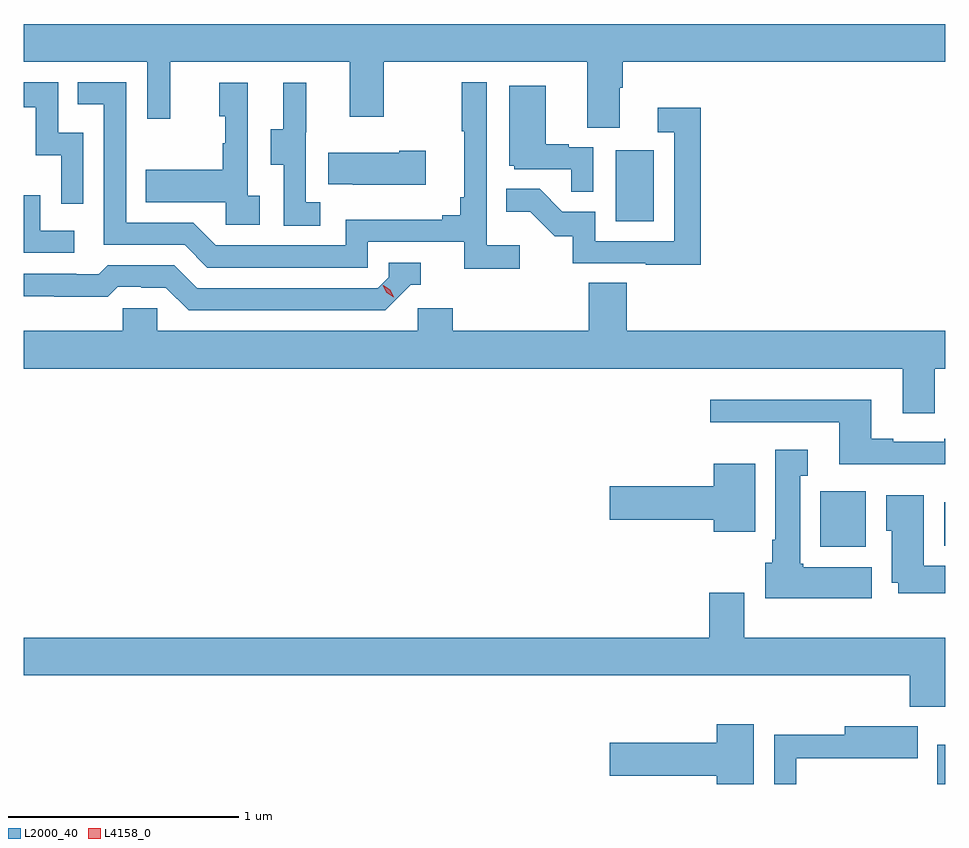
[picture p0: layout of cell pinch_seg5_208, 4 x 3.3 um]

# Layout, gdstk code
import gdstk
lib = gdstk.Library(unit=1e-6, precision=1e-09)
def R(c, l, rs):  # rectangles x0, y0, x1, y1
    for r in rs: c.add(gdstk.rectangle(r[:2], r[2:], *l))
def P(c, l, *ps):  # polygons
    for p in ps: c.add(gdstk.Polygon(p, *l))
L2000_40 = (2000, 40)
L4158_0 = (4158, 0)

pinch_seg5_208 = lib.new_cell('pinch_seg5_208')
R(pinch_seg5_208, L2000_40, [(991.044,898.913,991.078,899.083), (990.536,899.942,990.733,900.184), (991.073,899.948,991.078,900.136), (989.648,901.356,989.812,901.663)])
P(pinch_seg5_208, L2000_40, [(989.665,901.936),(989.678,901.936),(989.678,902.048),(991.078,902.048),(991.078,902.212),(987.078,902.212),(987.078,902.048),(987.615,902.048),(987.615,901.8),(987.713,901.8),(987.713,902.048),(988.493,902.048),(988.493,901.809),(988.641,901.809),(988.641,902.048),(989.525,902.048),(989.525,901.762),(989.665,901.762)],
  [(989.23,901.252),(989.088,901.252),(989.088,901.96),(988.98,901.96),(988.98,901.747),(988.991,901.747),(988.991,901.459),(988.972,901.459),(988.972,901.382),(988.895,901.382),(988.895,901.363),(988.476,901.363),(988.476,901.251),(987.912,901.251),(987.813,901.35),(987.522,901.35),(987.522,901.959),(987.313,901.959),(987.313,901.863),(987.426,901.863),(987.426,901.254),(987.776,901.254),(987.875,901.155),(988.572,901.155),(988.572,901.266),(988.991,901.266),(988.991,901.15),(989.23,901.15)],
  [(987.336,901.74),(987.228,901.74),(987.228,901.959),(987.078,901.959),(987.078,901.851),(987.131,901.851),(987.131,901.643),(987.24,901.643),(987.24,901.431),(987.336,901.431)],
  [(988.366,901.439),(988.302,901.439),(988.302,901.743),(988.304,901.743),(988.304,901.957),(988.205,901.957),(988.205,901.755),(988.151,901.755),(988.151,901.6),(988.206,901.6),(988.206,901.336),(988.366,901.336)],
  [(988.102,901.466),(988.05,901.466),(988.05,901.957),(987.926,901.957),(987.926,901.812),(987.952,901.812),(987.952,901.694),(987.942,901.694),(987.942,901.579),(987.607,901.579),(987.607,901.439),(987.954,901.439),(987.954,901.341),(988.102,901.341)],
  [(989.55,901.677),(989.444,901.677),(989.444,901.69),(989.344,901.69),(989.344,901.945),(989.186,901.945),(989.186,901.596),(989.208,901.596),(989.208,901.581),(989.455,901.581),(989.455,901.483),(989.55,901.483)],
  [(990.017,901.849),(989.829,901.849),(989.829,901.743),(989.901,901.743),(989.901,901.269),(989.559,901.269),(989.559,901.398),(989.415,901.398),(989.317,901.496),(989.173,901.496),(989.173,901.397),(989.277,901.397),(989.384,901.29),(989.461,901.29),(989.461,901.173),(989.779,901.173),(989.779,901.168),(990.017,901.168)],
  [(988.822,901.662),(988.709,901.662),(988.709,901.654),(988.399,901.654),(988.399,901.517),(988.507,901.517),(988.507,901.514),(988.822,901.514)],
  [(987.298,901.314),(987.15,901.314),(987.15,901.468),(987.078,901.468),(987.078,901.218),(987.298,901.218)],
  [(988.758,901.08),(988.801,901.08),(988.801,901.176),(988.662,901.176),(988.662,901.113),(988.614,901.065),(987.831,901.065),(987.732,901.164),(987.443,901.164),(987.404,901.125),(987.305,901.125),(987.305,901.128),(987.078,901.128),(987.078,901.031),(987.21,901.031),(987.21,901.029),(987.443,901.029),(987.485,901.071),(987.588,901.071),(987.588,901.068),(987.695,901.068),(987.794,900.969),(988.647,900.969)],
  [(989.696,901.088),(989.531,901.088),(989.531,900.88),(988.94,900.88),(988.94,900.978),(988.788,900.978),(988.788,900.88),(987.657,900.88),(987.657,900.978),(987.507,900.978),(987.507,900.88),(987.078,900.88),(987.078,900.716),(990.893,900.716),(990.893,900.522),(991.033,900.522),(991.033,900.716),(991.078,900.716),(991.078,900.88),(989.696,900.88)],
  [(991.078,900.412),(991.073,900.412),(991.073,900.399),(990.853,900.399),(990.853,900.412),(990.757,900.412),(990.757,900.58),(990.057,900.58),(990.057,900.483),(990.617,900.483),(990.617,900.302),(991.078,900.302)],
  [(990.76,899.854),(990.462,899.854),(990.462,899.868),(990.448,899.868),(990.448,900.251),(990.481,900.251),(990.481,900.364),(990.341,900.364),(990.341,899.974),(990.326,899.974),(990.326,899.874),(990.296,899.874),(990.296,899.72),(990.76,899.72)],
  [(990.253,900.304),(990.074,900.304),(990.074,900.206),(989.622,900.206),(989.622,900.059),(990.074,900.059),(990.074,900.008),(990.253,900.008)],
  [(991.078,899.86),(990.985,899.86),(990.985,900.166),(990.821,900.166),(990.821,900.012),(990.845,900.012),(990.845,899.786),(990.875,899.786),(990.875,899.742),(991.078,899.742)],
  [(991.078,899.548),(990.205,899.548),(990.205,899.743),(990.053,899.743),(990.053,899.548),(987.078,899.548),(987.078,899.384),(990.923,899.384),(990.923,899.249),(991.078,899.249)],
  [(990.247,899.173),(990.086,899.173),(990.086,899.091),(989.622,899.091),(989.622,898.949),(990.086,898.949),(990.086,898.913),(990.247,898.913)],
  [(990.432,899.025),(990.745,899.025),(990.745,899.024),(990.959,899.024),(990.959,899.164),(990.641,899.164),(990.641,899.126),(990.336,899.126),(990.336,898.913),(990.432,898.913)])
P(pinch_seg5_208, L4158_0, [(988.684,901.026),(988.653,901.046),(988.637,901.078),(988.637,901.078),(988.638,901.078),(988.668,901.059),(988.685,901.027),(988.685,901.026)])

lib.write_gds('pinch_seg5_208.gds')
